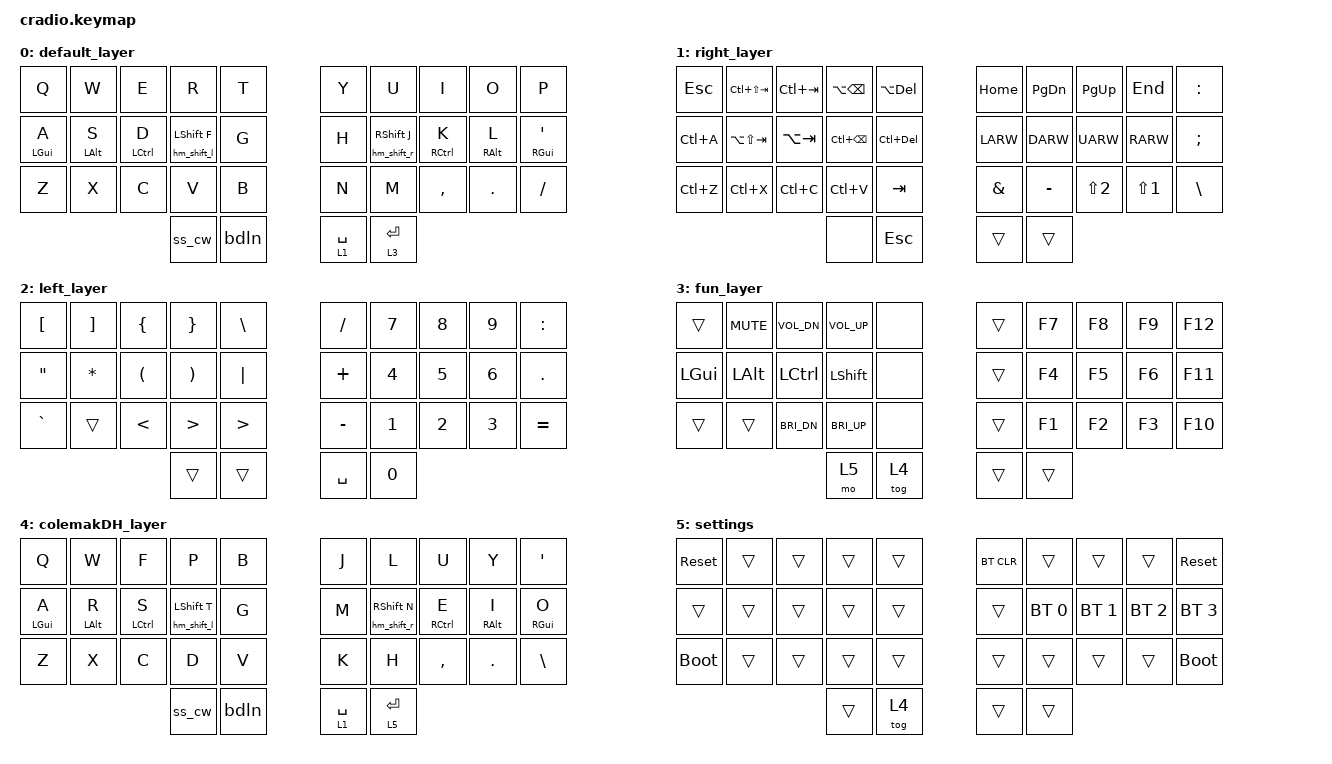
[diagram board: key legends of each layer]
// Copyright (c) 2022 The ZMK Contributors
// SPDX-License-Identifier: MIT

#include <behaviors.dtsi>
#include <dt-bindings/zmk/keys.h>
#include <dt-bindings/zmk/bt.h>
#include "../zmk-nodefree-config/helper.h"

// Custom Includes from https://github.com/infused-kim/zmk-config
#include "behaviours_homerow_mods.dtsi"

// Layers

/ {
    behaviors {
        skq: sticky_key_quick_release {
            compatible = "zmk,behavior-sticky-key";
            label = "STICKY_KEY_QUICK_RELEASE";
            #binding-cells = <1>;
            bindings = <&kp>;
            release-after-ms = <1000>;
            quick-release;
            ignore-modifiers;
        };
        
        // tap: sticky shift | double tap: capsword
        ss_cw: ss_cw {
            compatible = "zmk,behavior-tap-dance";
            label = "ss_cw";
            #binding-cells = <0>;
            tapping-term-ms = <200>;
            bindings = <&kp TAB>, <&caps_word>;
        };
        
        // tap: backspace | shift + tap: delete | hold: num layer
        bdln: bdln {
            compatible = "zmk,behavior-mod-morph";
            label = "bdln";
            #binding-cells = <0>;
            bindings = <&lt 2 BSPC>, <&kp DEL>;
            mods = <(MOD_LSFT|MOD_RSFT)>;
        };
    };

//      
    macros {
    // prose macros for seamless typing
        ZMK_MACRO(dot_sp,
            wait-ms = <10>;
            tap-ms = <10>;
            bindings
                = <&kp DOT &kp SPACE &skq LSHIFT>;
        )
        ZMK_MACRO(com_sp,
            wait-ms = <10>;
            tap-ms = <10>;
            bindings
                = <&kp COMMA &kp SPACE>;
        )  
        ZMK_MACRO(q_sp,
            wait-ms = <10>;
            tap-ms = <10>;
            bindings
                = <&skq LSHIFT &kp FSLH &kp SPACE &skq LSHIFT>;
        )     
        ZMK_MACRO(exc_sp,
            wait-ms = <10>;
            tap-ms = <10>;
            bindings
                = <&skq LSHIFT &kp N1 &kp SPACE &skq LSHIFT>;
        )
        ZMK_MACRO(dsh_sp,
            wait-ms = <10>;
            tap-ms = <10>;
            bindings
                = <&kp SPACE &kp MINUS &kp SPACE>;
        )
    };
    
    keymap {
        compatible = "zmk,keymap";
        default_layer {
            bindings = <
            &kp Q          &kp W           &kp E         &kp R                   &kp T       &kp Y      &kp U                    &kp I           &kp O            &kp P
            &hm_l LGUI A   &hm_l LALT S   &hm_l LCTRL D   &hm_shift_l LSHFT F     &kp G       &kp H      &hm_shift_r RSHFT J      &hm_r RCTRL K   &hm_r RALT L     &hm_r RGUI SQT
            &kp Z          &kp X          &kp C          &kp V                   &kp B       &kp N      &kp M                    &kp COMMA         &kp DOT          &kp FSLH
                                                         &ss_cw                  &bdln       &lt 1 SPACE     &lt 3 ENTER
            >;
        };

        right_layer {
            bindings = <
            &kp ESC     &kp LC(LS(TAB))     &kp LC(TAB)     &kp LA(BSPC) &kp LA(DEL)         &kp HOME   &kp PG_DN  &kp PG_UP  &kp END    &kp COLON
            &kp LC(A)   &kp LA(LS(TAB))     &kp LA(TAB)     &kp LC(BSPC) &kp LC(DEL)         &kp LARW   &kp DARW   &kp UARW   &kp RARW   &kp SEMI
            &kp LC(Z)   &kp LC(X)           &kp LC(C)       &kp LC(V)    &kp TAB             &kp AMPS   &kp MINUS  &kp LS(N2)   &kp LS(N1)   &kp BSLH
                                                            &none        &kp ESC              &trans     &trans
            >;
        };

        left_layer {
            bindings = <
            &kp LBKT   &kp RBKT  &kp LBRC  &kp RBRC     &kp BSLH       &kp FSLH   &kp N7      &kp N8   &kp N9   &kp COLON
            &kp DQT    &kp ASTRK &kp LPAR  &kp RPAR     &kp PIPE       &kp PLUS    &kp N4     &kp N5   &kp N6   &kp DOT
            &kp GRAVE    &trans    &kp LT    &kp GT       &kp GT       &kp MINUS  &kp N1      &kp N2   &kp N3   &kp EQUAL
                                           &trans       &trans         &kp SPACE  &kp N0
            >;
        };
                      
        fun_layer {
            bindings = <
            &trans 	    &kp C_MUTE 	&kp C_VOL_DN	&kp C_VOL_UP  	&none     		       	&trans &kp F7 &kp F8 &kp F9 &kp F12
            &kp LGUI 	&kp LALT 	&kp LCTRL 		&kp LSHIFT 		&none           		&trans &kp F4 &kp F5 &kp F6 &kp F11
            &trans		&trans	 	&kp C_BRI_DN	&kp C_BRI_UP 	&none					&trans &kp F1 &kp F2 &kp F3 &kp F10
                                   						&mo 5   	&tog 4      		&trans 		&trans
            >;
        }; 

        colemakDH_layer {
            bindings = <
            &kp Q          &kp W           &kp F         &kp P                   &kp B       &kp J      &kp L                    &kp U           &kp Y            &kp SQT
            &hm_l LGUI A   &hm_l LALT R   &hm_l LCTRL S   &hm_shift_l LSHFT T     &kp G       &kp M      &hm_shift_r RSHFT N      &hm_r RCTRL E   &hm_r RALT I     &hm_r RGUI O
            &kp Z          &kp X          &kp C          &kp D                   &kp V       &kp K      &kp H                    &kp COMMA         &kp DOT          &kp BSLH
                                                         &ss_cw                  &bdln       &lt 1 SPACE     &lt 5 ENTER
            >;
        };
        
        settings {
            bindings = <
            &sys_reset &trans &trans &trans &trans          &bt BT_CLR &trans &trans &trans &sys_reset
            &trans &trans &trans &trans &trans              &trans &bt BT_SEL 0 &bt BT_SEL 1 &bt BT_SEL 2 &bt BT_SEL 3
            &bootloader &trans &trans &trans &trans         &trans &trans &trans &trans &bootloader
                                      &trans &tog 4         &trans &trans
            >;
        };   
    };
};
